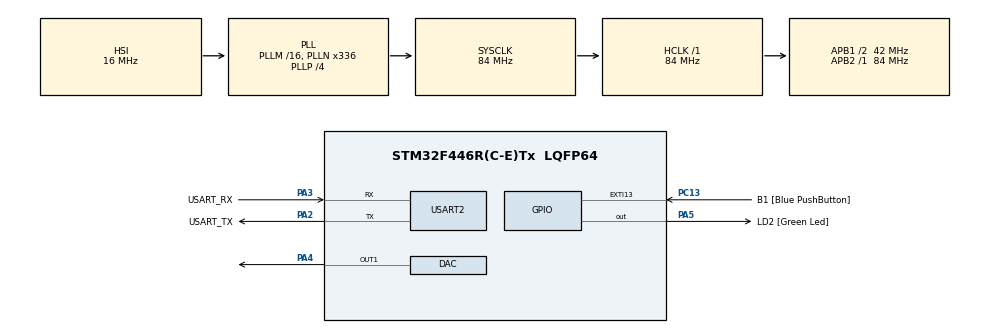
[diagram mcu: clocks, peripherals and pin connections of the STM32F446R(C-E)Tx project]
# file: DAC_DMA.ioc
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DAC.DAC_Trigger=DAC_TRIGGER_T6_TRGO
Dma.DAC1.0.Direction=DMA_MEMORY_TO_PERIPH
Dma.DAC1.0.FIFOMode=DMA_FIFOMODE_DISABLE
Dma.DAC1.0.Instance=DMA1_Stream5
Dma.DAC1.0.MemDataAlignment=DMA_MDATAALIGN_HALFWORD
Dma.DAC1.0.MemInc=DMA_MINC_ENABLE
Dma.DAC1.0.Mode=DMA_CIRCULAR
Dma.DAC1.0.PeriphDataAlignment=DMA_PDATAALIGN_HALFWORD
Dma.DAC1.0.PeriphInc=DMA_PINC_DISABLE
Dma.DAC1.0.Priority=DMA_PRIORITY_LOW
Dma.Request0=DAC1
Mcu.Family=STM32F4
Mcu.Name=STM32F446R(C-E)Tx
Mcu.Package=LQFP64
NVIC.DMA1_Stream5_IRQn=true\:0\:0\:false\:false\:true\:false\:true\:true
NVIC.PriorityGroup=NVIC_PRIORITYGROUP_0
NVIC.TIM6_DAC_IRQn=true\:0\:0\:false\:false\:true\:true\:true\:true
PA13.GPIO_Label=TMS
PA13.Mode=Serial_Wire
PA13.Signal=SYS_JTMS-SWDIO
PA14.GPIO_Label=TCK
PA14.Mode=Serial_Wire
PA14.Signal=SYS_JTCK-SWCLK
PA2.GPIO_Label=USART_TX
PA2.Mode=Asynchronous
PA2.Signal=USART2_TX
PA3.GPIO_Label=USART_RX
PA3.Mode=Asynchronous
PA3.Signal=USART2_RX
PA4.Signal=COMP_DAC1_group
PA5.GPIO_Label=LD2 [Green Led]
PA5.Signal=GPIO_Output
PB3.GPIO_Label=SWO
PB3.Signal=SYS_JTDO-SWO
PC13.GPIO_Label=B1 [Blue PushButton]
PC13.GPIO_ModeDefaultEXTI=GPIO_MODE_IT_FALLING
PC13.Signal=GPXTI13
PC14-OSC32_IN.Mode=LSE-External-Oscillator
PC14-OSC32_IN.Signal=RCC_OSC32_IN
PC15-OSC32_OUT.Mode=LSE-External-Oscillator
PC15-OSC32_OUT.Signal=RCC_OSC32_OUT
PH0-OSC_IN.Mode=HSE-External-Oscillator
PH0-OSC_IN.Signal=RCC_OSC_IN
PH1-OSC_OUT.Mode=HSE-External-Oscillator
PH1-OSC_OUT.Signal=RCC_OSC_OUT
ProjectManager.HeapSize=0x200
ProjectManager.StackSize=0x400
ProjectManager.TargetToolchain=STM32CubeIDE
RCC.48MHZClocksFreq_Value=84000000
RCC.AHBFreq_Value=84000000
RCC.APB1CLKDivider=RCC_HCLK_DIV2
RCC.APB1Freq_Value=42000000
RCC.APB1TimFreq_Value=84000000
RCC.APB2Freq_Value=84000000
RCC.APB2TimFreq_Value=84000000
RCC.CortexFreq_Value=84000000
RCC.FLatency-AdvancedSettings=FLASH_LATENCY_2
RCC.HCLKFreq_Value=84000000
RCC.HSE_VALUE=8000000
RCC.HSI_VALUE=16000000
RCC.PLLN=336
RCC.PLLP=RCC_PLLP_DIV4
RCC.SYSCLKFreq_VALUE=84000000
RCC.SYSCLKSource=RCC_SYSCLKSOURCE_PLLCLK
RCC.USBFreq_Value=168000000
RCC.VCOOutputFreq_Value=336000000
SH.COMP_DAC1_group.0=DAC_OUT1,DAC_OUT1
TIM6.Period=99
TIM6.Prescaler=83
TIM6.TIM_MasterOutputTrigger=TIM_TRGO_UPDATE
USART2.VirtualMode=VM_ASYNC
VP_TIM6_VS_ClockSourceINT.Mode=Enable_Timer
board=NUCLEO-F446RE

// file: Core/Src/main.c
/* USER CODE BEGIN Header */
/**
  ******************************************************************************
  * @file           : main.c
  * @brief          : Main program body
  ******************************************************************************
  * @attention
  *
  * Copyright (c) 2025 STMicroelectronics.
  * All rights reserved.
  *
  * This software is licensed under terms that can be found in the LICENSE file
  * in the root directory of this software component.
  * If no LICENSE file comes with this software, it is provided AS-IS.
  *
  ******************************************************************************
  */
/* USER CODE END Header */
#include "main.h"

/* USER CODE BEGIN Includes */
#include <stdio.h>

/* USER CODE END Includes */

/* USER CODE BEGIN PD */
#define DMA_BUFFER_SIZE 32
#define SAMPLE_FREQ 10000
#define OUTPUT_MID 2048 // Midpoint for sin wave

/* USER CODE END PD */

DAC_HandleTypeDef hdac;
DMA_HandleTypeDef hdma_dac1;

TIM_HandleTypeDef htim6;

UART_HandleTypeDef huart2;

void SystemClock_Config(void);
static void MX_GPIO_Init(void);
static void MX_DMA_Init(void);
static void MX_USART2_UART_Init(void);
static void MX_DAC_Init(void);
static void MX_TIM6_Init(void);

/* USER CODE BEGIN 0 */
// Send printf to uart1
int _write(int fd, char* ptr, int len) {
  HAL_StatusTypeDef hstatus;

  if (fd == 1 || fd == 2) {
    hstatus = HAL_UART_Transmit(&huart2, (uint8_t *) ptr, len, HAL_MAX_DELAY);
    if (hstatus == HAL_OK)
      return len;
    else
      return -1;
  }
  return -1;
}

void HAL_TIM_PeriodElapsedCallback(TIM_HandleTypeDef *htim)
{
    if(htim->Instance == TIM6) {   // check which timer triggered
        // Your code here
        cb_counter++;
    }
}

/* USER CODE END 0 */

int main(void)
{

  /* MCU Configuration--------------------------------------------------------*/

  /* Reset of all peripherals, Initializes the Flash interface and the Systick. */
  HAL_Init();

  /* Configure the system clock */
  SystemClock_Config();

  /* Initialize all configured peripherals */
  MX_GPIO_Init();
  MX_DMA_Init();
  MX_USART2_UART_Init();
  MX_DAC_Init();
  MX_TIM6_Init();
  /* USER CODE BEGIN 2 */
  HAL_TIM_Base_Start_IT(&htim6);
  uint32_t now = 0, next_tick = 1000, loop_cnt = 0;
  uint16_t dma_buffer[2 * DMA_BUFFER_SIZE]; // Declare Bugger
  HAL_DAC_Start_DMA(&hdac, DAC_CHANNEL_1,(uint32_t*) dma_buffer, 2 * DMA_BUFFER_SIZE, DAC_ALIGN_12B_R);

  /* USER CODE END 2 */

  /* Infinite loop */
  /* USER CODE BEGIN WHILE */
  while (1)
  {
	  now = uwTick;
	  if(now >= next_tick){
		  printf("Tick: %lu, loop count: %lu, cb = %lu \r\n", now/1000, loop_cnt, cb_counter);
		  next_tick = now + 1000;
		  loop_cnt = 0;
	  }
    /* USER CODE END WHILE */

    /* USER CODE BEGIN 3 */
	  loop_cnt++;
  }
  /* USER CODE END 3 */
}

void SystemClock_Config(void)
{
  RCC_OscInitTypeDef RCC_OscInitStruct = {0};
  RCC_ClkInitTypeDef RCC_ClkInitStruct = {0};

  /** Configure the main internal regulator output voltage
  */
  __HAL_RCC_PWR_CLK_ENABLE();
  __HAL_PWR_VOLTAGESCALING_CONFIG(PWR_REGULATOR_VOLTAGE_SCALE3);

  /** Initializes the RCC Oscillators according to the specified parameters
  * in the RCC_OscInitTypeDef structure.
  */
  RCC_OscInitStruct.OscillatorType = RCC_OSCILLATORTYPE_HSI;
  RCC_OscInitStruct.HSIState = RCC_HSI_ON;
  RCC_OscInitStruct.HSICalibrationValue = RCC_HSICALIBRATION_DEFAULT;
  RCC_OscInitStruct.PLL.PLLState = RCC_PLL_ON;
  RCC_OscInitStruct.PLL.PLLSource = RCC_PLLSOURCE_HSI;
  RCC_OscInitStruct.PLL.PLLM = 16;
  RCC_OscInitStruct.PLL.PLLN = 336;
  RCC_OscInitStruct.PLL.PLLP = RCC_PLLP_DIV4;
  RCC_OscInitStruct.PLL.PLLQ = 2;
  RCC_OscInitStruct.PLL.PLLR = 2;
  if (HAL_RCC_OscConfig(&RCC_OscInitStruct) != HAL_OK)
  {
    Error_Handler();
  }

  /** Initializes the CPU, AHB and APB buses clocks
  */
  RCC_ClkInitStruct.ClockType = RCC_CLOCKTYPE_HCLK|RCC_CLOCKTYPE_SYSCLK
                              |RCC_CLOCKTYPE_PCLK1|RCC_CLOCKTYPE_PCLK2;
  RCC_ClkInitStruct.SYSCLKSource = RCC_SYSCLKSOURCE_PLLCLK;
  RCC_ClkInitStruct.AHBCLKDivider = RCC_SYSCLK_DIV1;
  RCC_ClkInitStruct.APB1CLKDivider = RCC_HCLK_DIV2;
  RCC_ClkInitStruct.APB2CLKDivider = RCC_HCLK_DIV1;

  if (HAL_RCC_ClockConfig(&RCC_ClkInitStruct, FLASH_LATENCY_2) != HAL_OK)
  {
    Error_Handler();
  }
}

static void MX_DAC_Init(void)
{

  DAC_ChannelConfTypeDef sConfig = {0};

  /** DAC Initialization
  */
  hdac.Instance = DAC;
  if (HAL_DAC_Init(&hdac) != HAL_OK)
  {
    Error_Handler();
  }

  /** DAC channel OUT1 config
  */
  sConfig.DAC_Trigger = DAC_TRIGGER_T6_TRGO;
  sConfig.DAC_OutputBuffer = DAC_OUTPUTBUFFER_ENABLE;
  if (HAL_DAC_ConfigChannel(&hdac, &sConfig, DAC_CHANNEL_1) != HAL_OK)
  {
    Error_Handler();
  }

}

static void MX_TIM6_Init(void)
{

  TIM_MasterConfigTypeDef sMasterConfig = {0};

  htim6.Instance = TIM6;
  htim6.Init.Prescaler = 83;
  htim6.Init.CounterMode = TIM_COUNTERMODE_UP;
  htim6.Init.Period = 99;
  htim6.Init.AutoReloadPreload = TIM_AUTORELOAD_PRELOAD_DISABLE;
  if (HAL_TIM_Base_Init(&htim6) != HAL_OK)
  {
    Error_Handler();
  }
  sMasterConfig.MasterOutputTrigger = TIM_TRGO_UPDATE;
  sMasterConfig.MasterSlaveMode = TIM_MASTERSLAVEMODE_DISABLE;
  if (HAL_TIMEx_MasterConfigSynchronization(&htim6, &sMasterConfig) != HAL_OK)
  {
    Error_Handler();
  }

}

static void MX_USART2_UART_Init(void)
{

  huart2.Instance = USART2;
  huart2.Init.BaudRate = 115200;
  huart2.Init.WordLength = UART_WORDLENGTH_8B;
  huart2.Init.StopBits = UART_STOPBITS_1;
  huart2.Init.Parity = UART_PARITY_NONE;
  huart2.Init.Mode = UART_MODE_TX_RX;
  huart2.Init.HwFlowCtl = UART_HWCONTROL_NONE;
  huart2.Init.OverSampling = UART_OVERSAMPLING_16;
  if (HAL_UART_Init(&huart2) != HAL_OK)
  {
    Error_Handler();
  }

}

static void MX_DMA_Init(void)
{

  /* DMA controller clock enable */
  __HAL_RCC_DMA1_CLK_ENABLE();

  /* DMA interrupt init */
  /* DMA1_Stream5_IRQn interrupt configuration */
  HAL_NVIC_SetPriority(DMA1_Stream5_IRQn, 0, 0);
  HAL_NVIC_EnableIRQ(DMA1_Stream5_IRQn);

}

static void MX_GPIO_Init(void)
{
  GPIO_InitTypeDef GPIO_InitStruct = {0};

  /* GPIO Ports Clock Enable */
  __HAL_RCC_GPIOC_CLK_ENABLE();
  __HAL_RCC_GPIOH_CLK_ENABLE();
  __HAL_RCC_GPIOA_CLK_ENABLE();
  __HAL_RCC_GPIOB_CLK_ENABLE();

  /*Configure GPIO pin Output Level */
  HAL_GPIO_WritePin(LD2_GPIO_Port, LD2_Pin, GPIO_PIN_RESET);

  /*Configure GPIO pin : B1_Pin */
  GPIO_InitStruct.Pin = B1_Pin;
  GPIO_InitStruct.Mode = GPIO_MODE_IT_FALLING;
  GPIO_InitStruct.Pull = GPIO_NOPULL;
  HAL_GPIO_Init(B1_GPIO_Port, &GPIO_InitStruct);

  /*Configure GPIO pin : LD2_Pin */
  GPIO_InitStruct.Pin = LD2_Pin;
  GPIO_InitStruct.Mode = GPIO_MODE_OUTPUT_PP;
  GPIO_InitStruct.Pull = GPIO_NOPULL;
  GPIO_InitStruct.Speed = GPIO_SPEED_FREQ_LOW;
  HAL_GPIO_Init(LD2_GPIO_Port, &GPIO_InitStruct);

}

void Error_Handler(void)
{
  __disable_irq();
  while (1)
  {
  }
}
